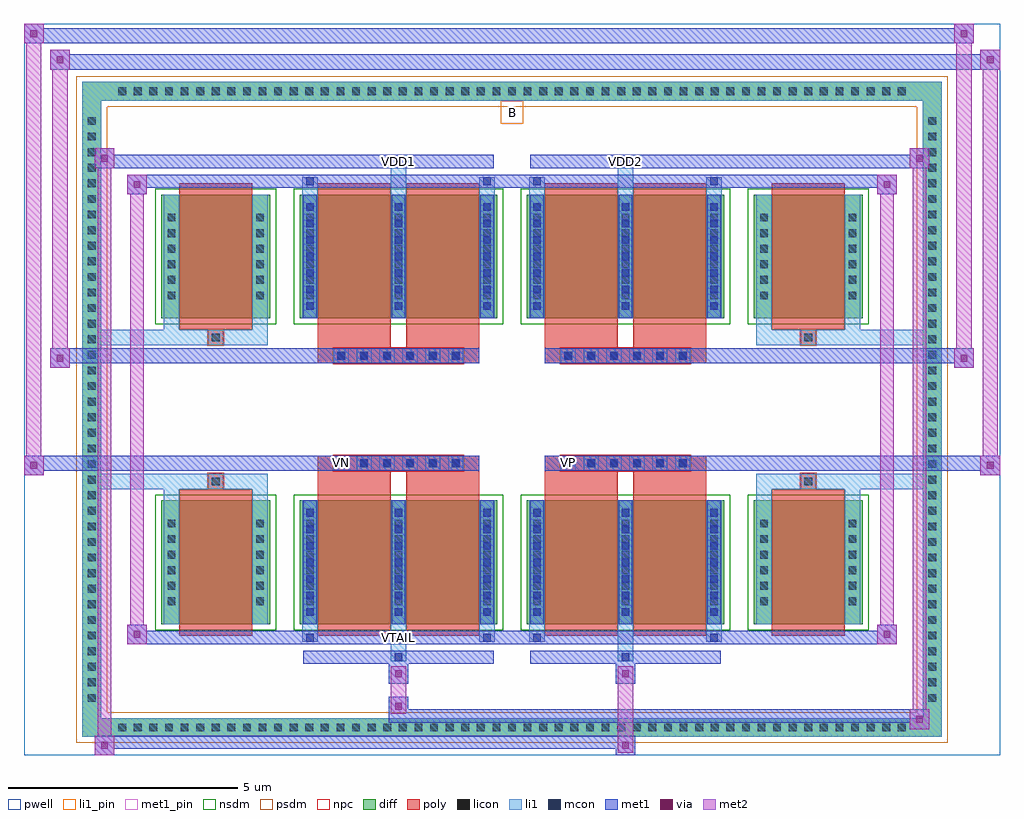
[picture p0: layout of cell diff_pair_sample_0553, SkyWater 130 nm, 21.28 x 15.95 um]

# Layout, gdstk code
import gdstk
lib = gdstk.Library(unit=1e-6, precision=5e-09)
def R(c, l, rs):  # rectangles x0, y0, x1, y1
    for r in rs: c.add(gdstk.rectangle(r[:2], r[2:], *l))
def A(c, l, x, y, w, h, nx, ny, dx, dy):  # array of equal rectangles
    R(c, l, [(x+i*dx, y+j*dy, x+i*dx+w, y+j*dy+h) for i in range(nx) for j in range(ny)])
def P(c, l, *ps):  # polygons
    for p in ps: c.add(gdstk.Polygon(p, *l))
pwell = (64, 44)
diff = (65, 20)
poly = (66, 20)
licon = (66, 44)
li1_pin = (67, 16)
li1 = (67, 20)
mcon = (67, 44)
met1_pin = (68, 16)
met1 = (68, 20)
via = (68, 44)
met2 = (69, 20)
nsdm = (93, 44)
psdm = (94, 20)
npc = (95, 20)

diff_pair_sample_0553 = lib.new_cell('diff_pair_sample_0553')
R(diff_pair_sample_0553, pwell, [(-10.64,-7.54,10.64,8.41), (-7.96,-5.73,-0.01,-0.805), (0.01,-5.73,7.96,-0.805), (-7.96,0.805,-0.01,5.73), (0.01,0.805,7.96,5.73)])
A(diff_pair_sample_0553, diff, -8.705, -7.14, 0.41, 0.41, 51, 2, 0.34, 13.87)
A(diff_pair_sample_0553, diff, -9.37, -6.495, 0.41, 0.41, 1, 38, 0, 0.34)
A(diff_pair_sample_0553, diff, 8.96, -6.495, 0.41, 0.41, 1, 38, 0, 0.34)
R(diff_pair_sample_0553, diff, [(-8.705,-7.14,8.705,-6.73), (-9.37,-6.495,-8.96,6.495), (8.96,-6.495,9.37,6.495), (-7.65,-4.685,-5.27,-1.985), (-4.63,-4.685,-0.32,-1.985), (0.32,-4.685,4.63,-1.985), (5.27,-4.685,7.65,-1.985), (-7.65,1.985,-5.27,4.685), (-4.63,1.985,-0.32,4.685), (0.32,1.985,4.63,4.685), (5.27,1.985,7.65,4.685), (-8.705,6.73,8.705,7.14)])
P(diff_pair_sample_0553, diff, [(9.37,7.14),(-9.37,7.14),(-9.37,-6.73),(-8.96,-6.73),(-8.96,6.73),(8.96,6.73),(8.96,-6.73),(-8.96,-6.73),(-9.37,-6.73),(-9.37,-7.14),(9.37,-7.14)])
A(diff_pair_sample_0553, poly, -3.89, -1.335, 0.33, 0.33, 6, 2, 0.5, 2.34)
A(diff_pair_sample_0553, poly, 1.06, -1.335, 0.33, 0.33, 6, 2, 0.5, 2.34)
R(diff_pair_sample_0553, poly, [(-7.26,-4.935,-5.66,-1.735), (-4.24,-4.935,-2.64,-1.735), (-2.31,-4.935,-0.71,-1.735), (0.71,-4.935,2.31,-1.735), (2.64,-4.935,4.24,-1.735), (5.66,-4.935,7.26,-1.735), (-6.625,-1.735,-6.295,-1.405), (-6.625,-1.735,-6.295,-1.405), (-4.24,-1.735,-2.64,-1.335), (-2.31,-1.735,-0.71,-1.335), (0.71,-1.735,2.31,-1.335), (2.64,-1.735,4.24,-1.335), (6.295,-1.735,6.625,-1.405), (6.295,-1.735,6.625,-1.405), (-4.24,-1.335,-0.71,-1.005), (0.71,-1.335,4.24,-1.005), (-4.24,1.005,-0.71,1.335), (0.71,1.005,4.24,1.335), (-4.24,1.335,-2.64,1.735), (-2.31,1.335,-0.71,1.735), (0.71,1.335,2.31,1.735), (2.64,1.335,4.24,1.735), (-6.625,1.405,-6.295,1.735), (-6.625,1.405,-6.295,1.735), (6.295,1.405,6.625,1.735), (6.295,1.405,6.625,1.735), (-7.26,1.735,-5.66,4.935), (-4.24,1.735,-2.64,4.935), (-2.31,1.735,-0.71,4.935), (0.71,1.735,2.31,4.935), (2.64,1.735,4.24,4.935), (5.66,1.735,7.26,4.935)])
A(diff_pair_sample_0553, licon, -8.585, -7.02, 0.17, 0.17, 51, 2, 0.34, 13.87)
A(diff_pair_sample_0553, licon, -9.25, -6.375, 0.17, 0.17, 1, 38, 0, 0.34)
A(diff_pair_sample_0553, licon, 9.08, -6.375, 0.17, 0.17, 1, 38, 0, 0.34)
A(diff_pair_sample_0553, licon, -7.51, -4.27, 0.17, 0.17, 1, 6, 0, 0.34)
A(diff_pair_sample_0553, licon, -5.58, -4.27, 0.17, 0.17, 1, 6, 0, 0.34)
A(diff_pair_sample_0553, licon, -4.49, -4.27, 0.17, 0.17, 3, 6, 1.93, 0.34)
A(diff_pair_sample_0553, licon, 0.46, -4.27, 0.17, 0.17, 3, 6, 1.93, 0.34)
A(diff_pair_sample_0553, licon, 5.41, -4.27, 0.17, 0.17, 1, 6, 0, 0.34)
A(diff_pair_sample_0553, licon, 7.34, -4.27, 0.17, 0.17, 1, 6, 0, 0.34)
A(diff_pair_sample_0553, licon, -3.81, -1.255, 0.17, 0.17, 6, 2, 0.5, 2.34)
A(diff_pair_sample_0553, licon, 1.14, -1.255, 0.17, 0.17, 6, 2, 0.5, 2.34)
A(diff_pair_sample_0553, licon, -7.51, 2.4, 0.17, 0.17, 1, 6, 0, 0.34)
A(diff_pair_sample_0553, licon, -5.58, 2.4, 0.17, 0.17, 1, 6, 0, 0.34)
A(diff_pair_sample_0553, licon, -4.49, 2.4, 0.17, 0.17, 3, 6, 1.93, 0.34)
A(diff_pair_sample_0553, licon, 0.46, 2.4, 0.17, 0.17, 3, 6, 1.93, 0.34)
A(diff_pair_sample_0553, licon, 5.41, 2.4, 0.17, 0.17, 1, 6, 0, 0.34)
A(diff_pair_sample_0553, licon, 7.34, 2.4, 0.17, 0.17, 1, 6, 0, 0.34)
R(diff_pair_sample_0553, licon, [(-6.545,-1.655,-6.375,-1.485), (6.375,-1.655,6.545,-1.485), (-6.545,1.485,-6.375,1.655), (6.375,1.485,6.545,1.655)])
R(diff_pair_sample_0553, li1_pin, [(-0.25,6.23,0.25,6.73)])
A(diff_pair_sample_0553, li1, -8.665, -7.1, 0.33, 0.33, 51, 2, 0.34, 13.87)
A(diff_pair_sample_0553, li1, -9.33, -6.455, 0.33, 0.33, 1, 38, 0, 0.34)
A(diff_pair_sample_0553, li1, 9, -6.455, 0.33, 0.33, 1, 38, 0, 0.34)
A(diff_pair_sample_0553, li1, -4.57, -4.685, 0.33, 2.7, 3, 2, 1.93, 6.67)
A(diff_pair_sample_0553, li1, 0.38, -4.685, 0.33, 2.7, 3, 2, 1.93, 6.67)
A(diff_pair_sample_0553, li1, -4.49, -4.5, 0.17, 0.17, 3, 7, 1.93, 0.36)
A(diff_pair_sample_0553, li1, -4.49, -4.5, 0.17, 2.33, 3, 2, 1.93, 6.67)
A(diff_pair_sample_0553, li1, 0.46, -4.5, 0.17, 0.17, 3, 7, 1.93, 0.36)
A(diff_pair_sample_0553, li1, 0.46, -4.5, 0.17, 2.33, 3, 2, 1.93, 6.67)
A(diff_pair_sample_0553, li1, -7.59, -4.35, 0.33, 0.33, 1, 6, 0, 0.34)
A(diff_pair_sample_0553, li1, -5.66, -4.35, 0.33, 0.33, 1, 6, 0, 0.34)
A(diff_pair_sample_0553, li1, -4.57, -4.35, 0.33, 0.33, 3, 6, 1.93, 0.34)
A(diff_pair_sample_0553, li1, 0.38, -4.35, 0.33, 0.33, 3, 6, 1.93, 0.34)
A(diff_pair_sample_0553, li1, 5.33, -4.35, 0.33, 0.33, 1, 6, 0, 0.34)
A(diff_pair_sample_0553, li1, 7.26, -4.35, 0.33, 0.33, 1, 6, 0, 0.34)
A(diff_pair_sample_0553, li1, -3.89, -1.335, 0.33, 0.33, 6, 2, 0.5, 2.34)
A(diff_pair_sample_0553, li1, 1.06, -1.335, 0.33, 0.33, 6, 2, 0.5, 2.34)
A(diff_pair_sample_0553, li1, -4.49, 2.17, 0.17, 0.17, 3, 7, 1.93, 0.36)
A(diff_pair_sample_0553, li1, 0.46, 2.17, 0.17, 0.17, 3, 7, 1.93, 0.36)
A(diff_pair_sample_0553, li1, -7.59, 2.32, 0.33, 0.33, 1, 6, 0, 0.34)
A(diff_pair_sample_0553, li1, -5.66, 2.32, 0.33, 0.33, 1, 6, 0, 0.34)
A(diff_pair_sample_0553, li1, -4.57, 2.32, 0.33, 0.33, 3, 6, 1.93, 0.34)
A(diff_pair_sample_0553, li1, 0.38, 2.32, 0.33, 0.33, 3, 6, 1.93, 0.34)
A(diff_pair_sample_0553, li1, 5.33, 2.32, 0.33, 0.33, 1, 6, 0, 0.34)
A(diff_pair_sample_0553, li1, 7.26, 2.32, 0.33, 0.33, 1, 6, 0, 0.34)
R(diff_pair_sample_0553, li1, [(-9.37,-7.14,-8.96,-6.73), (-9.37,-7.14,-8.96,-6.73), (-8.96,-7.14,8.96,-6.73), (8.96,-7.14,9.37,-6.73), (8.96,-7.14,9.37,-6.73), (-9.37,-6.73,-8.96,6.73), (8.96,-6.73,9.37,6.73), (-2.64,-5.49,-2.31,-4.685), (-2.56,-5.49,-2.39,-5.32), (2.31,-5.49,2.64,-4.685), (2.39,-5.49,2.56,-5.32), (-4.57,-5.06,-4.24,-4.685), (-4.49,-5.06,-4.32,-4.89), (-0.71,-5.06,-0.38,-4.685), (-0.63,-5.06,-0.46,-4.89), (0.38,-5.06,0.71,-4.685), (0.46,-5.06,0.63,-4.89), (4.24,-5.06,4.57,-4.685), (4.32,-5.06,4.49,-4.89), (-7.59,-4.685,-7.26,-1.985), (-5.66,-4.685,-5.33,-1.985), (5.33,-4.685,5.66,-1.985), (7.26,-4.685,7.59,-1.985), (-7.59,-1.985,-7.26,-1.405), (-5.66,-1.985,-5.33,-1.405), (5.33,-1.985,5.66,-1.405), (7.26,-1.985,7.59,-1.405), (-9.37,-1.735,-6.625,-1.405), (-7.59,-1.735,-6.625,-1.405), (-6.625,-1.735,-6.295,-1.405), (-6.295,-1.735,-5.33,-1.405), (5.33,-1.735,6.295,-1.405), (6.295,-1.735,6.625,-1.405), (6.295,-1.735,9.37,-1.405), (6.625,-1.735,7.59,-1.405), (-9.37,1.405,-6.625,1.735), (-7.59,1.405,-6.625,1.735), (-7.59,1.405,-7.26,1.985), (-6.625,1.405,-6.295,1.735), (-6.295,1.405,-5.33,1.735), (-5.66,1.405,-5.33,1.985), (5.33,1.405,6.295,1.735), (5.33,1.405,5.66,1.985), (6.295,1.405,6.625,1.735), (6.295,1.405,9.37,1.735), (6.625,1.405,7.59,1.735), (7.26,1.405,7.59,1.985), (-7.59,1.985,-7.26,4.685), (-5.66,1.985,-5.33,4.685), (5.33,1.985,5.66,4.685), (7.26,1.985,7.59,4.685), (-4.57,4.685,-4.24,5.06), (-2.64,4.685,-2.31,5.49), (-0.71,4.685,-0.38,5.06), (0.38,4.685,0.71,5.06), (2.31,4.685,2.64,5.49), (4.24,4.685,4.57,5.06), (-4.49,4.89,-4.32,5.06), (-0.63,4.89,-0.46,5.06), (0.46,4.89,0.63,5.06), (4.32,4.89,4.49,5.06), (-2.56,5.32,-2.39,5.49), (2.39,5.32,2.56,5.49), (-9.37,6.73,-8.96,7.14), (-9.37,6.73,-8.96,7.14), (-8.96,6.73,8.96,7.14), (8.96,6.73,9.37,7.14), (8.96,6.73,9.37,7.14)])
A(diff_pair_sample_0553, mcon, -4.49, -4.5, 0.17, 0.17, 3, 7, 1.93, 0.36)
A(diff_pair_sample_0553, mcon, 0.46, -4.5, 0.17, 0.17, 3, 7, 1.93, 0.36)
A(diff_pair_sample_0553, mcon, -3.81, -1.255, 0.17, 0.17, 6, 2, 0.5, 2.34)
A(diff_pair_sample_0553, mcon, 1.14, -1.255, 0.17, 0.17, 6, 2, 0.5, 2.34)
A(diff_pair_sample_0553, mcon, -4.49, 2.17, 0.17, 0.17, 3, 7, 1.93, 0.36)
A(diff_pair_sample_0553, mcon, 0.46, 2.17, 0.17, 0.17, 3, 7, 1.93, 0.36)
R(diff_pair_sample_0553, mcon, [(-2.56,-5.49,-2.39,-5.32), (2.39,-5.49,2.56,-5.32), (-4.49,-5.06,-4.32,-4.89), (-0.63,-5.06,-0.46,-4.89), (0.46,-5.06,0.63,-4.89), (4.32,-5.06,4.49,-4.89), (-4.49,4.89,-4.32,5.06), (-0.63,4.89,-0.46,5.06), (0.46,4.89,0.63,5.06), (4.32,4.89,4.49,5.06), (-2.56,5.32,-2.39,5.49), (2.39,5.32,2.56,5.49)])
R(diff_pair_sample_0553, met1_pin, [(-2.61,-5.1,-2.34,-4.83), (-3.86,-1.295,-3.59,-1.025), (1.09,-1.295,1.36,-1.025), (-2.61,5.28,-2.34,5.55), (2.34,5.28,2.61,5.55)])
A(diff_pair_sample_0553, met1, -4.55, -4.685, 0.29, 2.7, 3, 2, 1.93, 6.67)
A(diff_pair_sample_0553, met1, 0.4, -4.685, 0.29, 2.7, 3, 2, 1.93, 6.67)
A(diff_pair_sample_0553, met1, -4.55, -4.56, 0.29, 0.29, 3, 7, 1.93, 0.36)
A(diff_pair_sample_0553, met1, 0.4, -4.56, 0.29, 0.29, 3, 7, 1.93, 0.36)
A(diff_pair_sample_0553, met1, -3.87, -1.315, 0.29, 0.29, 6, 2, 0.5, 2.34)
A(diff_pair_sample_0553, met1, 1.08, -1.315, 0.29, 0.29, 6, 2, 0.5, 2.34)
A(diff_pair_sample_0553, met1, -4.55, 2.11, 0.29, 0.29, 3, 7, 1.93, 0.36)
A(diff_pair_sample_0553, met1, 0.4, 2.11, 0.29, 0.29, 3, 7, 1.93, 0.36)
R(diff_pair_sample_0553, met1, [(-9.1,-7.54,-8.67,-7.11), (2.26,-7.54,2.69,-7.11), (-9.1,-7.4,2.69,-7.11), (8.67,-6.97,9.1,-6.54), (-2.69,-6.83,9.1,-6.54), (-2.69,-6.69,-2.26,-6.26), (-2.69,-5.98,-2.26,-5.55), (2.26,-5.98,2.69,-5.55), (-4.55,-5.55,-0.4,-5.26), (-2.62,-5.55,-2.33,-5.26), (0.4,-5.55,4.55,-5.26), (2.33,-5.55,2.62,-5.26), (-8.39,-5.12,-7.96,-4.69), (-8.39,-5.12,-4.55,-4.83), (-4.55,-5.12,-4.26,-4.83), (-4.55,-5.12,-0.4,-4.83), (-0.69,-5.12,-0.4,-4.83), (-0.4,-5.12,0.4,-4.83), (0.4,-5.12,0.69,-4.83), (0.4,-5.12,4.55,-4.83), (4.26,-5.12,4.55,-4.83), (4.55,-5.12,8.39,-4.83), (7.96,-5.12,8.39,-4.69), (-10.64,-1.435,-10.21,-1.005), (10.21,-1.435,10.64,-1.005), (-10.64,-1.335,-0.71,-1.005), (-4.24,-1.335,-0.71,-1.005), (0.71,-1.335,4.24,-1.005), (0.71,-1.335,10.64,-1.005), (-10.07,0.905,-9.64,1.335), (9.64,0.905,10.07,1.335), (-10.07,1.005,-4.24,1.335), (-4.24,1.005,-0.71,1.335), (0.71,1.005,4.24,1.335), (4.24,1.005,10.07,1.335), (-8.39,4.69,-7.96,5.12), (7.96,4.69,8.39,5.12), (-8.39,4.83,-4.55,5.12), (-4.55,4.83,-4.26,5.12), (-4.55,4.83,-0.4,5.12), (-0.69,4.83,-0.4,5.12), (-0.4,4.83,0.4,5.12), (0.4,4.83,0.69,5.12), (0.4,4.83,4.55,5.12), (4.26,4.83,4.55,5.12), (4.55,4.83,8.39,5.12), (-9.1,5.26,-8.67,5.69), (-9.1,5.26,-4.55,5.55), (-4.55,5.26,-0.4,5.55), (-2.62,5.26,-2.33,5.55), (0.4,5.26,4.55,5.55), (2.33,5.26,2.62,5.55), (4.55,5.26,9.1,5.55), (8.67,5.26,9.1,5.69), (-10.07,7.41,-9.64,7.84), (-10.07,7.41,-7.96,7.74), (-7.96,7.41,7.96,7.74), (7.96,7.41,10.64,7.74), (10.21,7.41,10.64,7.84), (-10.64,7.98,-10.21,8.41), (-10.64,7.98,-7.96,8.31), (-7.96,7.98,7.96,8.31), (7.96,7.98,10.07,8.31), (9.64,7.98,10.07,8.41)])
R(diff_pair_sample_0553, via, [(-8.96,-7.4,-8.81,-7.25), (2.4,-7.4,2.55,-7.25), (8.81,-6.83,8.96,-6.68), (-2.55,-6.55,-2.4,-6.4), (-2.55,-5.84,-2.4,-5.69), (2.4,-5.84,2.55,-5.69), (-8.25,-4.98,-8.1,-4.83), (8.1,-4.98,8.25,-4.83), (-10.5,-1.295,-10.35,-1.145), (10.35,-1.295,10.5,-1.145), (-9.93,1.045,-9.78,1.195), (9.78,1.045,9.93,1.195), (-8.25,4.83,-8.1,4.98), (8.1,4.83,8.25,4.98), (-8.96,5.4,-8.81,5.55), (8.81,5.4,8.96,5.55), (-9.93,7.55,-9.78,7.7), (10.35,7.55,10.5,7.7), (-10.5,8.12,-10.35,8.27), (9.78,8.12,9.93,8.27)])
R(diff_pair_sample_0553, met2, [(-9.1,-7.54,-8.67,-7.11), (-9.03,-7.54,-8.74,5.69), (-8.74,-7.54,-8.67,-7.11), (-9.05,-7.49,-8.72,-7.16), (2.31,-7.49,2.64,-7.16), (2.31,-7.16,2.64,-5.93), (8.67,-6.97,9.1,-6.54), (8.74,-6.97,9.03,5.69), (9.03,-6.97,9.1,-6.54), (8.72,-6.92,9.05,-6.59), (-2.64,-6.64,-2.31,-6.31), (-2.64,-6.31,-2.31,-5.93), (-2.64,-5.93,-2.31,-5.6), (2.31,-5.93,2.64,-5.6), (-8.39,-5.12,-7.96,-4.69), (-8.32,-5.12,-8.03,5.12), (-8.03,-5.12,-7.96,-4.69), (7.96,-5.12,8.39,-4.69), (8.03,-5.12,8.32,5.12), (8.32,-5.12,8.39,-4.69), (-8.34,-5.07,-8.01,-4.74), (8.01,-5.07,8.34,-4.74), (-10.64,-1.435,-10.21,-1.005), (-10.59,-1.435,-10.26,8.41), (-10.26,-1.435,-10.21,-1.005), (10.21,-1.435,10.64,-1.005), (10.26,-1.435,10.59,7.84), (10.59,-1.435,10.64,-1.005), (-10.59,-1.385,-10.26,-1.055), (10.26,-1.385,10.59,-1.055), (-10.07,0.905,-9.64,1.335), (-10.02,0.905,-9.69,7.84), (-9.69,0.905,-9.64,1.335), (9.64,0.905,10.07,1.335), (9.69,0.905,10.02,8.41), (10.02,0.905,10.07,1.335), (-10.02,0.955,-9.69,1.285), (9.69,0.955,10.02,1.285), (-8.39,4.69,-7.96,5.12), (-8.03,4.69,-7.96,5.12), (7.96,4.69,8.39,5.12), (8.32,4.69,8.39,5.12), (-8.34,4.74,-8.01,5.07), (8.01,4.74,8.34,5.07), (-9.1,5.26,-8.67,5.69), (-8.74,5.26,-8.67,5.69), (8.67,5.26,9.1,5.69), (9.03,5.26,9.1,5.69), (-9.05,5.31,-8.72,5.64), (8.72,5.31,9.05,5.64), (-10.07,7.41,-9.64,7.84), (-9.69,7.41,-9.64,7.84), (10.21,7.41,10.64,7.84), (10.59,7.41,10.64,7.84), (-10.02,7.46,-9.69,7.79), (10.26,7.46,10.59,7.79), (-10.64,7.98,-10.21,8.41), (-10.26,7.98,-10.21,8.41), (9.64,7.98,10.07,8.41), (10.02,7.98,10.07,8.41), (-10.59,8.03,-10.26,8.36), (9.69,8.03,10.02,8.36)])
R(diff_pair_sample_0553, nsdm, [(-7.78,-4.815,-5.14,-1.855), (-4.76,-4.815,-0.19,-1.855), (0.19,-4.815,4.76,-1.855), (5.14,-4.815,7.78,-1.855), (-7.78,1.855,-5.14,4.815), (-4.76,1.855,-0.19,4.815), (0.19,1.855,4.76,4.815), (5.14,1.855,7.78,4.815)])
P(diff_pair_sample_0553, psdm, [(9.5,7.27),(-9.5,7.27),(-9.5,-6.6),(-8.83,-6.6),(-8.83,6.6),(8.83,6.6),(8.83,-6.6),(-8.83,-6.6),(-9.5,-6.6),(-9.5,-7.27),(9.5,-7.27)])
A(diff_pair_sample_0553, npc, -3.91, -1.355, 0.37, 0.37, 6, 2, 0.5, 2.34)
A(diff_pair_sample_0553, npc, 1.04, -1.355, 0.37, 0.37, 6, 2, 0.5, 2.34)
R(diff_pair_sample_0553, npc, [(-6.645,-1.755,-6.275,-1.385), (6.275,-1.755,6.645,-1.385), (-3.91,-1.355,-3.04,-0.985), (-3.91,-1.355,-3.04,-0.985), (-3.41,-1.355,-2.54,-0.985), (-3.41,-1.355,-2.54,-0.985), (-2.91,-1.355,-2.04,-0.985), (-2.91,-1.355,-2.04,-0.985), (-2.41,-1.355,-1.54,-0.985), (-2.41,-1.355,-1.54,-0.985), (-1.91,-1.355,-1.04,-0.985), (-1.91,-1.355,-1.04,-0.985), (1.04,-1.355,1.91,-0.985), (1.04,-1.355,1.91,-0.985), (1.54,-1.355,2.41,-0.985), (1.54,-1.355,2.41,-0.985), (2.04,-1.355,2.91,-0.985), (2.04,-1.355,2.91,-0.985), (2.54,-1.355,3.41,-0.985), (2.54,-1.355,3.41,-0.985), (3.04,-1.355,3.91,-0.985), (3.04,-1.355,3.91,-0.985), (-3.91,0.985,-3.04,1.355), (-3.91,0.985,-3.04,1.355), (-3.41,0.985,-2.54,1.355), (-3.41,0.985,-2.54,1.355), (-2.91,0.985,-2.04,1.355), (-2.91,0.985,-2.04,1.355), (-2.41,0.985,-1.54,1.355), (-2.41,0.985,-1.54,1.355), (-1.91,0.985,-1.04,1.355), (-1.91,0.985,-1.04,1.355), (1.04,0.985,1.91,1.355), (1.04,0.985,1.91,1.355), (1.54,0.985,2.41,1.355), (1.54,0.985,2.41,1.355), (2.04,0.985,2.91,1.355), (2.04,0.985,2.91,1.355), (2.54,0.985,3.41,1.355), (2.54,0.985,3.41,1.355), (3.04,0.985,3.91,1.355), (3.04,0.985,3.91,1.355), (-6.645,1.385,-6.275,1.755), (6.275,1.385,6.645,1.755)])
diff_pair_sample_0553.add(gdstk.Label('VTAIL', (-2.475,-4.965), layer=68, texttype=5))
diff_pair_sample_0553.add(gdstk.Label('VN', (-3.725,-1.16), layer=68, texttype=5))
diff_pair_sample_0553.add(gdstk.Label('VP', (1.225,-1.16), layer=68, texttype=5))
diff_pair_sample_0553.add(gdstk.Label('B', (0,6.48), layer=67, texttype=5))
diff_pair_sample_0553.add(gdstk.Label('VDD2', (2.475,5.415), layer=68, texttype=5))
diff_pair_sample_0553.add(gdstk.Label('VDD1', (-2.475,5.415), layer=68, texttype=5))

lib.write_gds('diff_pair_sample_0553.gds')
